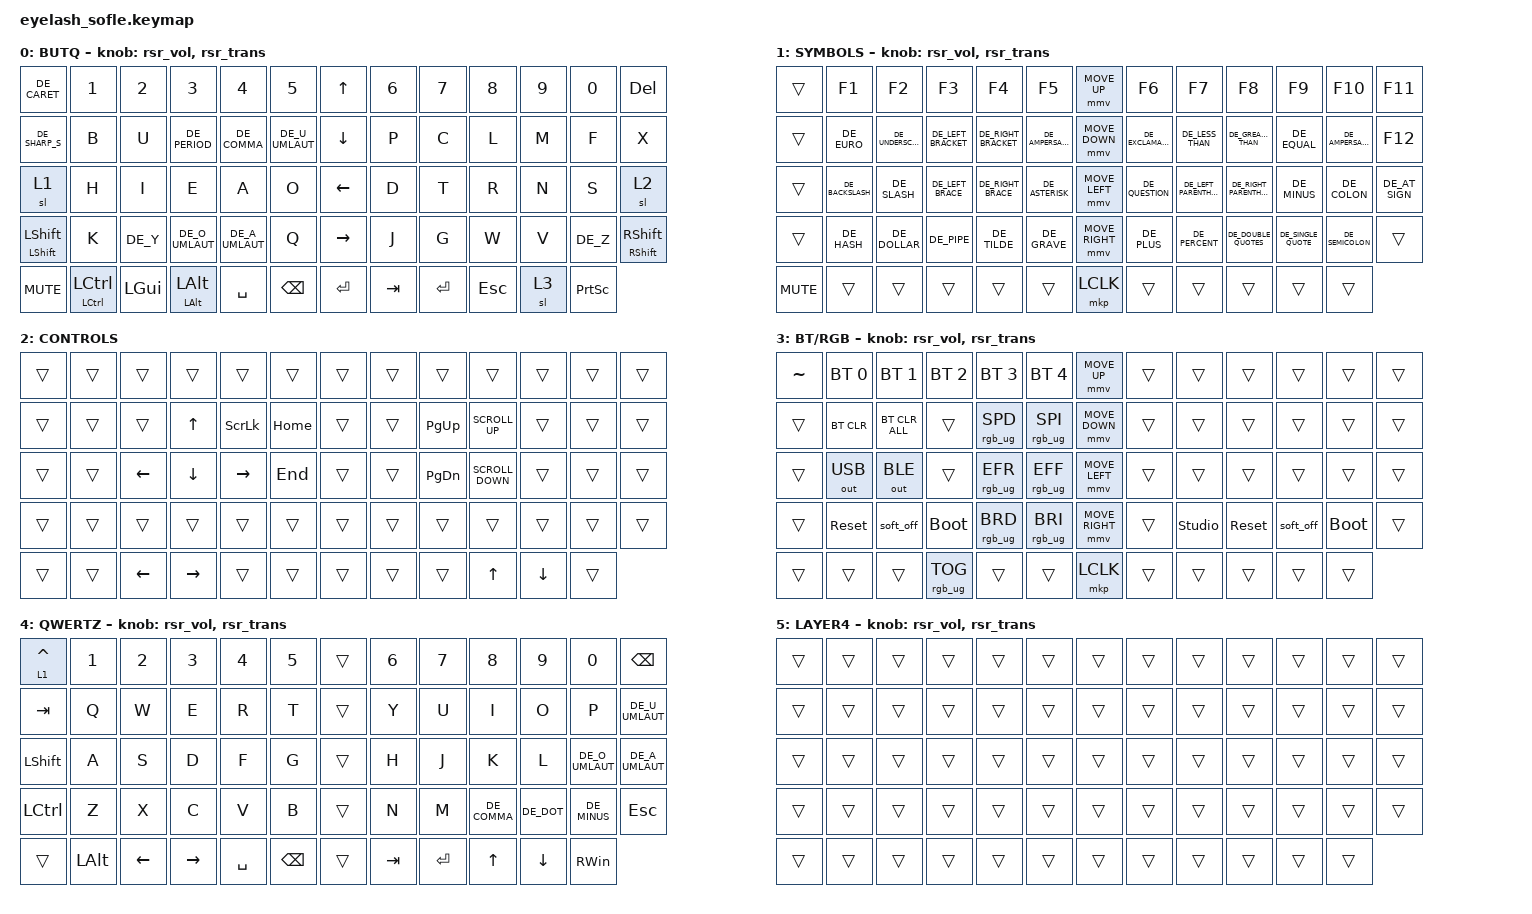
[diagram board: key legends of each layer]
#define ZMK_POINTING_DEFAULT_MOVE_VAL 1200  // 600
#define ZMK_POINTING_DEFAULT_SCRL_VAL 25   // 10

#include <input/processors.dtsi>
#include <zephyr/dt-bindings/input/input-event-codes.h>
#include "keys_de.h"
#include <behaviors.dtsi>
#include <behaviors/runtime-sensor-rotate.dtsi>
#include <dt-bindings/zmk/bt.h>
#include <dt-bindings/zmk/keys.h>
#include <dt-bindings/zmk/outputs.h>
#include <dt-bindings/zmk/pointing.h>
#include <dt-bindings/zmk/rgb.h>

&mmv_input_listener { input-processors = <&zip_xy_scaler 2 1>; };

&msc_input_listener { input-processors = <&zip_scroll_scaler 2 1>; };

&msc {
    acceleration-exponent = <1>;      // 0
    time-to-max-speed-ms = <100>;       // 300
    delay-ms = <0>;                   // 0
};

&mmv {
    time-to-max-speed-ms = <500>;
    acceleration-exponent = <1>;
    trigger-period-ms = <16>;
};

&soft_off { hold-time-ms = <2000>; };

/ {
    scroll_encoder: scroll_encoder {
        compatible = "zmk,behavior-sensor-rotate";
        #sensor-binding-cells = <0>;
        bindings = <&msc SCRL_DOWN>, <&msc SCRL_UP>;

        tap-ms = <100>;
    };

    behaviors {
        hold_tap_sticky: hold_tap_sticky {
            compatible = "zmk,behavior-hold-tap";
            display-name = "Hold Key Tap Sticky Key";
            bindings = <&kp>, <&sk>;

            #binding-cells = <2>;
            tapping-term-ms = <200>;
            require-prior-idle-ms = <125>;
            flavor = "tap-preferred";
        };

        rsr_vol: rsr_vol {
            compatible = "zmk,behavior-runtime-sensor-rotate";
            #sensor-binding-cells = <0>;
            tap-ms = <5>;
            cw-binding = <&kp C_VOL_UP>;
            ccw-binding = <&kp C_VOL_DN>;
        };

        rsr_trans: rsr_trans {
            compatible = "zmk,behavior-runtime-sensor-rotate";
            #sensor-binding-cells = <0>;
            tap-ms = <0>;
        };
    };

    combos {
        compatible = "zmk,combos";

        combo-switch {
            bindings = <&tog 4>;
            key-positions = <47 14>;
        };

        softoff {
            bindings = <&soft_off>;
            key-positions = <14 28 40>;
        };
    };

    macros {
        SHIFT_MCLK: SHIFT_MCLK {
            compatible = "zmk,behavior-macro";
            #binding-cells = <0>;
            bindings =
                <&macro_press>,
                <&kp LEFT_SHIFT>,
                <&macro_press>,
                <&mkp MB3>,
                <&macro_pause_for_release>,
                <&macro_release>,
                <&kp LEFT_SHIFT &mkp MB3>;

            label = "SHIFT_MCLK";
        };
    };

    keymap {
        compatible = "zmk,keymap";

        butq {
            bindings = <
&kp DE_CARET                   &kp N1                        &kp N2        &kp N3                              &kp N4           &kp N5             &kp UP_ARROW     &kp N6   &kp N7     &kp N8      &kp N9  &kp N0           &kp DELETE
&kp DE_SHARP_S                 &kp B                         &kp U         &kp DE_PERIOD                       &kp DE_COMMA     &kp DE_U_UMLAUT    &kp DOWN_ARROW   &kp P    &kp C      &kp L       &kp M   &kp F            &kp X
&sl 1                          &kp H                         &kp I         &kp E                               &kp A            &kp O              &kp LEFT_ARROW   &kp D    &kp T      &kp R       &kp N   &kp S            &sl 2
&hold_tap_sticky LSHFT LSHIFT  &kp K                         &kp DE_Y      &kp DE_O_UMLAUT                     &kp DE_A_UMLAUT  &kp Q              &kp RIGHT_ARROW  &kp J    &kp G      &kp W       &kp V   &kp DE_Z         &hold_tap_sticky RIGHT_SHIFT RIGHT_SHIFT
&kp C_MUTE                     &hold_tap_sticky LCTRL LCTRL  &kp LEFT_GUI  &hold_tap_sticky LEFT_ALT LEFT_ALT  &kp SPACE        &kp BACKSPACE      &kp ENTER        &kp TAB  &kp ENTER  &kp ESCAPE  &sl 3   &kp PRINTSCREEN
            >;

            sensor-bindings = <&rsr_vol &rsr_trans>;
            display-name = "BUTQ";
        };

        symbols {
            bindings = <
&trans      &kp F1            &kp F2             &kp F3               &kp F4                &kp F5              &mmv MOVE_UP     &kp F6              &kp F7                   &kp F8                    &kp F9               &kp F10           &kp F11
&trans      &kp DE_EURO       &kp DE_UNDERSCORE  &kp DE_LEFT_BRACKET  &kp DE_RIGHT_BRACKET  &kp DE_AMPERSAND    &mmv MOVE_DOWN   &kp DE_EXCLAMATION  &kp DE_LESS_THAN         &kp DE_GREATER_THAN       &kp DE_EQUAL         &kp DE_AMPERSAND  &kp F12
&trans      &kp DE_BACKSLASH  &kp DE_SLASH       &kp DE_LEFT_BRACE    &kp DE_RIGHT_BRACE    &kp DE_ASTERISK     &mmv MOVE_LEFT   &kp DE_QUESTION     &kp DE_LEFT_PARENTHESIS  &kp DE_RIGHT_PARENTHESIS  &kp DE_MINUS         &kp DE_COLON      &kp DE_AT_SIGN
&trans      &kp DE_HASH       &kp DE_DOLLAR      &kp DE_PIPE          &kp DE_TILDE          &kp DE_GRAVE        &mmv MOVE_RIGHT  &kp DE_PLUS         &kp DE_PERCENT           &kp DE_DOUBLE_QUOTES      &kp DE_SINGLE_QUOTE  &kp DE_SEMICOLON  &trans
&kp C_MUTE  &trans            &trans             &trans               &trans                &trans              &mkp LCLK        &trans              &trans                   &trans                    &trans               &trans
            >;

            sensor-bindings = <&rsr_vol &rsr_trans>;
            display-name = "SYMBOLS";
        };

        controls {
            bindings = <
&trans  &trans  &trans          &trans     &trans          &trans      &trans  &trans  &trans         &trans             &trans    &trans  &trans
&trans  &trans  &trans          &kp UP     &kp SCROLLLOCK  &kp HOME    &trans  &trans  &kp PAGE_UP    &kp K_SCROLL_UP    &trans    &trans  &trans
&trans  &trans  &kp LEFT_ARROW  &kp DOWN   &kp RIGHT       &kp END     &trans  &trans  &kp PAGE_DOWN  &kp K_SCROLL_DOWN  &trans    &trans  &trans
&trans  &trans  &trans          &trans     &trans          &trans      &trans  &trans  &trans         &trans             &trans    &trans  &trans
&trans  &trans  &kp LEFT_ARROW  &kp RIGHT  &trans          &trans      &trans  &trans  &trans         &kp UP             &kp DOWN  &trans
            >;

            display-name = "CONTROLS";
        };

        bt_rgb {
            bindings = <
&kp TILDE  &bt BT_SEL 0  &bt BT_SEL 1    &bt BT_SEL 2     &bt BT_SEL 3     &bt BT_SEL 4       &mmv MOVE_UP     &trans  &trans          &trans      &trans     &trans       &trans
&trans     &bt BT_CLR    &bt BT_CLR_ALL  &trans           &rgb_ug RGB_SPD  &rgb_ug RGB_SPI    &mmv MOVE_DOWN   &trans  &trans          &trans      &trans     &trans       &trans
&trans     &out OUT_USB  &out OUT_BLE    &trans           &rgb_ug RGB_EFR  &rgb_ug RGB_EFF    &mmv MOVE_LEFT   &trans  &trans          &trans      &trans     &trans       &trans
&trans     &sys_reset    &soft_off       &bootloader      &rgb_ug RGB_BRD  &rgb_ug RGB_BRI    &mmv MOVE_RIGHT  &trans  &studio_unlock  &sys_reset  &soft_off  &bootloader  &trans
&trans     &trans        &trans          &rgb_ug RGB_TOG  &trans           &trans             &mkp LCLK        &trans  &trans          &trans      &trans     &trans
            >;

            display-name = "BT/RGB";
            sensor-bindings = <&rsr_vol &rsr_trans>;
        };

        QWERTZ {
            bindings = <
&lt 1 CARET     &kp N1        &kp N2          &kp N3           &kp N4     &kp N5           &trans  &kp N6   &kp N7     &kp N8        &kp N9      &kp N0           &kp BSPC
&kp TAB         &kp Q         &kp W           &kp E            &kp R      &kp T            &trans  &kp Y    &kp U      &kp I         &kp O       &kp P            &kp DE_U_UMLAUT
&kp LEFT_SHIFT  &kp A         &kp S           &kp D            &kp F      &kp G            &trans  &kp H    &kp J      &kp K         &kp L       &kp DE_O_UMLAUT  &kp DE_A_UMLAUT
&kp LCTRL       &kp Z         &kp X           &kp C            &kp V      &kp B            &trans  &kp N    &kp M      &kp DE_COMMA  &kp DE_DOT  &kp DE_MINUS     &kp ESCAPE
&trans          &kp LEFT_ALT  &kp LEFT_ARROW  &kp RIGHT_ARROW  &kp SPACE  &kp BACKSPACE    &trans  &kp TAB  &kp ENTER  &kp UP        &kp DOWN    &kp RIGHT_WIN
            >;

            display-name = "QWERTZ";
            sensor-bindings = <&rsr_vol &rsr_trans>;
        };

        layer_4 {
            bindings = <
&trans  &trans  &trans  &trans  &trans  &trans    &trans  &trans  &trans  &trans  &trans  &trans  &trans
&trans  &trans  &trans  &trans  &trans  &trans    &trans  &trans  &trans  &trans  &trans  &trans  &trans
&trans  &trans  &trans  &trans  &trans  &trans    &trans  &trans  &trans  &trans  &trans  &trans  &trans
&trans  &trans  &trans  &trans  &trans  &trans    &trans  &trans  &trans  &trans  &trans  &trans  &trans
&trans  &trans  &trans  &trans  &trans  &trans    &trans  &trans  &trans  &trans  &trans  &trans
            >;

            display-name = "LAYER4";
            sensor-bindings = <&rsr_vol &rsr_trans>;
        };
    };
};
